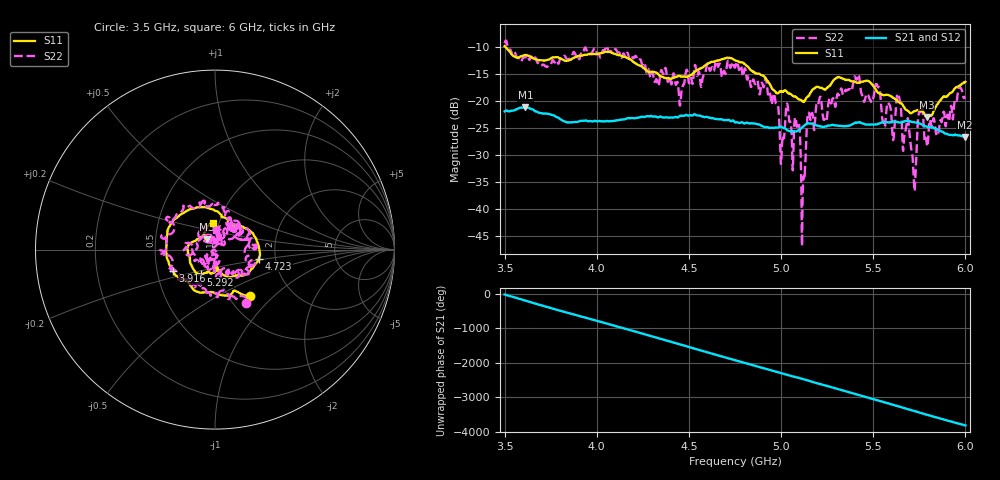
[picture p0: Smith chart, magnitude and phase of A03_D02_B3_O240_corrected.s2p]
! Created with skrf 1.9.0 (http://scikit-rf.org).
# Hz S RI R 50.0
!freq ReS11 ImS11 ReS21 ImS21 ReS12 ImS12 ReS22 ImS22
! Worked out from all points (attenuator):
!   1601 points, 3.5 GHz to 6 GHz, reference 50 ohm
!   highest |S21| = -21.18 dB at 3.612 GHz (marker M1); lowest = -26.7 dB at 5.997 GHz (marker M2)
!   lowest |S11| = -22.9 dB at 5.791 GHz (marker M3), VSWR 1.15, Z = 45.5 + j5.15 ohm
!   |S11| at or under -10 dB: 3.505 GHz to end of sweep
!   |S22| runs from -46.9 to -8.8 dB; largest |S21 - S12| = 0.001
!   S11 on the Smith chart (normalised r, x): 3.5 GHz: 1.25, -0.72; 3.916 GHz: 0.61, -0.16; 4.723 GHz: 1.64, -0.18; 5.292 GHz: 0.82, -0.23; 6 GHz: 0.93, +0.29
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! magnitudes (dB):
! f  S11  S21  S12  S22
! 3.5 GHz  -9.8  -21.9  -21.9  -9.3
! 3.612 GHz  -11.5  -21.2  -21.2  -11.9
! 3.916 GHz  -11.6  -23.7  -23.7  -11.1
! 3.917 GHz  -11.6  -23.7  -23.7  -10.9
! 4.334 GHz  -15.1  -23.0  -22.9  -17.2
! 4.723 GHz  -12.1  -23.7  -23.6  -13.8
! 4.75 GHz  -12.5  -24.0  -23.9  -13.8
! 4.969 GHz  -18.3  -24.9  -24.9  -20.0
! 5.005 GHz  -18.2  -24.8  -24.8  -28.2
! 5.088 GHz  -19.5  -25.6  -25.5  -24.6
! 5.12 GHz  -20.1  -24.7  -24.6  -34.6
! 5.145 GHz  -19.2  -24.1  -24.1  -22.4
! 5.167 GHz  -18.0  -24.2  -24.2  -22.3
! 5.292 GHz  -15.9  -24.5  -24.5  -20.9
! 5.411 GHz  -16.6  -24.0  -24.0  -15.7
! 5.584 GHz  -18.9  -23.9  -23.9  -20.4
! 5.639 GHz  -20.3  -24.0  -23.9  -19.1
! 5.72 GHz  -21.9  -23.9  -23.9  -34.7
! 5.755 GHz  -21.8  -24.2  -24.1  -22.0
! 5.791 GHz  -22.9  -24.8  -24.7  -27.9
! 5.997 GHz  -16.5  -26.7  -26.6  -19.4
! 6 GHz  -16.5  -26.7  -26.6  -19.4
